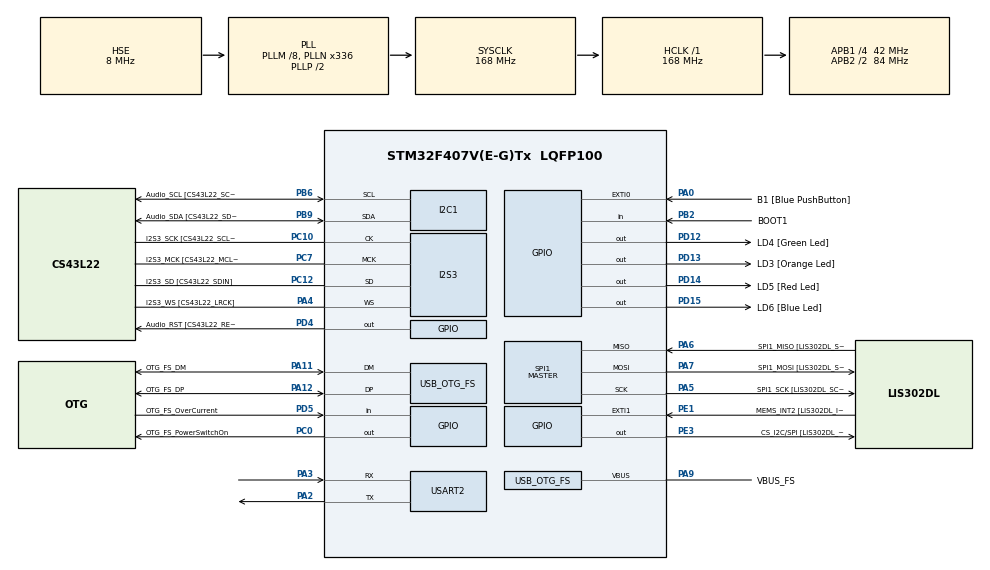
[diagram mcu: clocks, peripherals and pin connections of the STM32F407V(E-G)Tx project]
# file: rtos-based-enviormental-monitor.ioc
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FREERTOS.Tasks01=defaultTask,24,128,StartDefaultTask,Default,NULL,Dynamic,NULL,NULL;Sensor_Task,40,256,Sensor_Task_entry,Default,NULL,Dynamic,NULL,NULL;UART_Task,24,256,UART_Task_entry,Default,NULL,Dynamic,NULL,NULL;LED_Task,8,128,LED_Task_entry,Default,NULL,Dynamic,NULL,NULL
I2S3.AudioFreq-Half_Duplex_Master=I2S_AUDIOFREQ_96K
I2S3.ErrorAudioFreq=-2.34 %
I2S3.ErrorAudioFreq-Half_Duplex_Master=0.8 %
I2S3.FullDuplexMode=I2S_FULLDUPLEXMODE_DISABLE
I2S3.Instance=SPI$Index
I2S3.RealAudioFreq=93.75 KHz
I2S3.RealAudioFreq-Half_Duplex_Master=96.774 KHz
I2S3.VirtualMode=I2S_MODE_MASTER
Mcu.Family=STM32F4
Mcu.Name=STM32F407V(E-G)Tx
Mcu.Package=LQFP100
NVIC.OTG_FS_IRQn=true\:5\:0\:false\:false\:true\:true\:true\:true\:true
NVIC.PriorityGroup=NVIC_PRIORITYGROUP_4
NVIC.TIM6_DAC_IRQn=true\:15\:0\:false\:false\:true\:false\:false\:true\:true
NVIC.TimeBase=TIM6_DAC_IRQn
NVIC.TimeBaseIP=TIM6
NVIC.USART2_IRQn=true\:5\:0\:false\:false\:true\:true\:true\:true\:true
PA0-WKUP.GPIO_Label=B1 [Blue PushButton]
PA0-WKUP.GPIO_ModeDefaultEXTI=GPIO_MODE_EVT_RISING
PA0-WKUP.GPIO_PuPd=GPIO_NOPULL
PA0-WKUP.Signal=GPXTI0
PA10.GPIO_Label=OTG_FS_ID
PA10.GPIO_Mode=GPIO_MODE_AF_PP
PA10.GPIO_PuPd=GPIO_NOPULL
PA10.GPIO_Speed=GPIO_SPEED_FREQ_LOW
PA10.Signal=USB_OTG_FS_ID
PA11.GPIO_Label=OTG_FS_DM
PA11.GPIO_Mode=GPIO_MODE_AF_PP
PA11.GPIO_PuPd=GPIO_NOPULL
PA11.GPIO_Speed=GPIO_SPEED_FREQ_LOW
PA11.Mode=Host_Only
PA11.Signal=USB_OTG_FS_DM
PA12.GPIO_Label=OTG_FS_DP
PA12.GPIO_Mode=GPIO_MODE_AF_PP
PA12.GPIO_PuPd=GPIO_NOPULL
PA12.GPIO_Speed=GPIO_SPEED_FREQ_LOW
PA12.Mode=Host_Only
PA12.Signal=USB_OTG_FS_DP
PA13.GPIO_Label=SWDIO
PA13.Mode=Serial_Wire
PA13.Signal=SYS_JTMS-SWDIO
PA14.GPIO_Label=SWCLK
PA14.Mode=Serial_Wire
PA14.Signal=SYS_JTCK-SWCLK
PA2.Mode=Asynchronous
PA2.Signal=USART2_TX
PA3.Mode=Asynchronous
PA3.Signal=USART2_RX
PA4.GPIO_Label=I2S3_WS [CS43L22_LRCK]
PA4.GPIO_Mode=GPIO_MODE_AF_PP
PA4.GPIO_PuPd=GPIO_NOPULL
PA4.GPIO_Speed=GPIO_SPEED_FREQ_LOW
PA4.Mode=Half_Duplex_Master
PA4.Signal=I2S3_WS
PA5.GPIO_Label=SPI1_SCK [LIS302DL_SCL/SPC]
PA5.GPIO_Mode=GPIO_MODE_AF_PP
PA5.GPIO_PuPd=GPIO_NOPULL
PA5.GPIO_Speed=GPIO_SPEED_FREQ_LOW
PA5.Mode=Full_Duplex_Master
PA5.Signal=SPI1_SCK
PA6.GPIO_Label=SPI1_MISO [LIS302DL_SDO]
PA6.GPIO_Mode=GPIO_MODE_AF_PP
PA6.GPIO_PuPd=GPIO_NOPULL
PA6.GPIO_Speed=GPIO_SPEED_FREQ_LOW
PA6.Mode=Full_Duplex_Master
PA6.Signal=SPI1_MISO
PA7.GPIO_Label=SPI1_MOSI [LIS302DL_SDA/SDI/SDO]
PA7.GPIO_Mode=GPIO_MODE_AF_PP
PA7.GPIO_PuPd=GPIO_NOPULL
PA7.GPIO_Speed=GPIO_SPEED_FREQ_LOW
PA7.Mode=Full_Duplex_Master
PA7.Signal=SPI1_MOSI
PA9.GPIO_Label=VBUS_FS
PA9.GPIO_Mode=GPIO_MODE_INPUT
PA9.GPIO_PuPd=GPIO_NOPULL
PA9.Mode=Activate_VBUS
PA9.Signal=USB_OTG_FS_VBUS
PB10.GPIO_Label=CLK_IN [MP45DT02_CLK]
PB10.GPIO_Mode=GPIO_MODE_AF_PP
PB10.GPIO_PuPd=GPIO_NOPULL
PB10.GPIO_Speed=GPIO_SPEED_FREQ_LOW
PB10.Signal=I2S2_CK
PB2.GPIO_Label=BOOT1
PB2.GPIO_Mode=GPIO_MODE_INPUT
PB2.GPIO_PuPd=GPIO_NOPULL
PB2.Signal=GPIO_Input
PB3.GPIO_Label=SWO
PB3.Signal=SYS_JTDO-SWO
PB6.GPIO_Label=Audio_SCL [CS43L22_SCL]
PB6.GPIO_Mode=GPIO_MODE_AF_OD
PB6.GPIO_Pu=GPIO_PULLUP
PB6.GPIO_PuPd=GPIO_NOPULL
PB6.GPIO_Speed=GPIO_SPEED_FREQ_LOW
PB6.Mode=I2C
PB6.Signal=I2C1_SCL
PB9.GPIO_Label=Audio_SDA [CS43L22_SDA]
PB9.GPIO_Mode=GPIO_MODE_AF_OD
PB9.GPIO_Pu=GPIO_PULLUP
PB9.GPIO_PuPd=GPIO_NOPULL
PB9.GPIO_Speed=GPIO_SPEED_FREQ_LOW
PB9.Mode=I2C
PB9.Signal=I2C1_SDA
PC0.GPIO_Label=OTG_FS_PowerSwitchOn
PC0.GPIO_PuPd=GPIO_NOPULL
PC0.GPIO_Speed=GPIO_SPEED_FREQ_LOW
PC0.PinState=GPIO_PIN_SET
PC0.Signal=GPIO_Output
PC10.GPIO_Label=I2S3_SCK [CS43L22_SCLK]
PC10.GPIO_Mode=GPIO_MODE_AF_PP
PC10.GPIO_PuPd=GPIO_NOPULL
PC10.GPIO_Speed=GPIO_SPEED_FREQ_LOW
PC10.Mode=Half_Duplex_Master
PC10.Signal=I2S3_CK
PC12.GPIO_Label=I2S3_SD [CS43L22_SDIN]
PC12.GPIO_Mode=GPIO_MODE_AF_PP
PC12.GPIO_PuPd=GPIO_NOPULL
PC12.GPIO_Speed=GPIO_SPEED_FREQ_LOW
PC12.Mode=Half_Duplex_Master
PC12.Signal=I2S3_SD
PC14-OSC32_IN.GPIO_Label=PC14-OSC32_IN
PC14-OSC32_IN.Mode=LSE-External-Oscillator
PC14-OSC32_IN.Signal=RCC_OSC32_IN
PC15-OSC32_OUT.GPIO_Label=PC15-OSC32_OUT
PC15-OSC32_OUT.Mode=LSE-External-Oscillator
PC15-OSC32_OUT.Signal=RCC_OSC32_OUT
PC3.GPIO_Label=PDM_OUT [MP45DT02_DOUT]
PC3.GPIO_Mode=GPIO_MODE_AF_PP
PC3.GPIO_PuPd=GPIO_NOPULL
PC3.GPIO_Speed=GPIO_SPEED_FREQ_LOW
PC3.Signal=I2S2_SD
PC7.GPIO_Label=I2S3_MCK [CS43L22_MCLK]
PC7.GPIO_Mode=GPIO_MODE_AF_PP
PC7.GPIO_PuPd=GPIO_NOPULL
PC7.GPIO_Speed=GPIO_SPEED_FREQ_LOW
PC7.Mode=Master_Clock_Activated
PC7.Signal=I2S3_MCK
PD12.GPIO_Label=LD4 [Green Led]
PD12.GPIO_PuPd=GPIO_NOPULL
PD12.GPIO_Speed=GPIO_SPEED_FREQ_LOW
PD12.Signal=GPIO_Output
PD13.GPIO_Label=LD3 [Orange Led]
PD13.GPIO_PuPd=GPIO_NOPULL
PD13.GPIO_Speed=GPIO_SPEED_FREQ_LOW
PD13.Signal=GPIO_Output
PD14.GPIO_Label=LD5 [Red Led]
PD14.GPIO_PuPd=GPIO_NOPULL
PD14.GPIO_Speed=GPIO_SPEED_FREQ_LOW
PD14.Signal=GPIO_Output
PD15.GPIO_Label=LD6 [Blue Led]
PD15.GPIO_PuPd=GPIO_NOPULL
PD15.GPIO_Speed=GPIO_SPEED_FREQ_LOW
PD15.Signal=GPIO_Output
PD4.GPIO_Label=Audio_RST [CS43L22_RESET]
PD4.GPIO_PuPd=GPIO_NOPULL
PD4.GPIO_Speed=GPIO_SPEED_FREQ_LOW
PD4.Signal=GPIO_Output
PD5.GPIO_Label=OTG_FS_OverCurrent
PD5.GPIO_Mode=GPIO_MODE_INPUT
PD5.GPIO_PuPd=GPIO_NOPULL
PD5.Signal=GPIO_Input
PE1.GPIO_Label=MEMS_INT2 [LIS302DL_INT2]
PE1.GPIO_ModeDefaultEXTI=GPIO_MODE_EVT_RISING
PE1.GPIO_PuPd=GPIO_NOPULL
PE1.Signal=GPXTI1
PE3.GPIO_Label=CS_I2C/SPI [LIS302DL_CS_I2C/SPI]
PE3.GPIO_PuPd=GPIO_NOPULL
PE3.GPIO_Speed=GPIO_SPEED_FREQ_LOW
PE3.Signal=GPIO_Output
PH0-OSC_IN.GPIO_Label=PH0-OSC_IN
PH0-OSC_IN.Mode=HSE-External-Oscillator
PH0-OSC_IN.Signal=RCC_OSC_IN
PH1-OSC_OUT.GPIO_Label=PH1-OSC_OUT
PH1-OSC_OUT.Mode=HSE-External-Oscillator
PH1-OSC_OUT.Signal=RCC_OSC_OUT
ProjectManager.HeapSize=0x200
ProjectManager.StackSize=0x400
ProjectManager.TargetToolchain=CMake
RCC.48MHZClocksFreq_Value=48000000
RCC.AHBFreq_Value=168000000
RCC.APB1CLKDivider=RCC_HCLK_DIV4
RCC.APB1Freq_Value=42000000
RCC.APB1TimFreq_Value=84000000
RCC.APB2CLKDivider=RCC_HCLK_DIV2
RCC.APB2Freq_Value=84000000
RCC.APB2TimFreq_Value=168000000
RCC.CortexFreq_Value=168000000
RCC.HCLKFreq_Value=168000000
RCC.HSE_VALUE=8000000
RCC.HSI_VALUE=16000000
RCC.PLLM=8
RCC.PLLN=336
RCC.PLLQ=7
RCC.SYSCLKFreq_VALUE=168000000
RCC.SYSCLKSource=RCC_SYSCLKSOURCE_PLLCLK
RCC.VCOOutputFreq_Value=336000000
SPI1.BaudRatePrescaler-Full_Duplex_Master=SPI_BAUDRATEPRESCALER_2
SPI1.CalculateBaudRate-Full_Duplex_Master=42.0 MBits/s
SPI1.Direction=SPI_DIRECTION_2LINES
SPI1.Mode=SPI_MODE_MASTER
SPI1.Mode-Full_Duplex_Master=SPI_MODE_MASTER
SPI1.VirtualType=VM_MASTER
USART2.VirtualMode=VM_ASYNC
USB_HOST.BSP.number=1
USB_HOST.USBH_HandleTypeDef-CDC_FS=hUsbHostFS
USB_HOST.VirtualModeFS=Cdc
USB_HOST0.BSP.STBoard=false
USB_HOST0.BSP.api=Unknown
USB_HOST0.BSP.instance=PC0
USB_HOST0.BSP.ip=GPIO
USB_HOST0.BSP.mode=Output
USB_HOST0.BSP.name=Drive_VBUS_FS
USB_HOST0.BSP.solution=PC0
USB_OTG_FS.VirtualMode=Host_Only
USB_OTG_FS.phy_itface=HCD_PHY_EMBEDDED
VP_FREERTOS_VS_CMSIS_V2.Mode=CMSIS_V2
VP_SYS_VS_tim6.Mode=TIM6
VP_USB_HOST_VS_USB_HOST_CDC_FS.Mode=CDC_FS
board=STM32F407G-DISC1

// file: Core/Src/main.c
/* USER CODE BEGIN Header */
/**
  ******************************************************************************
  * @file           : main.c
  * @brief          : Main program body
  ******************************************************************************
  * @attention
  *
  * Copyright (c) 2026 STMicroelectronics.
  * All rights reserved.
  *
  * This software is licensed under terms that can be found in the LICENSE file
  * in the root directory of this software component.
  * If no LICENSE file comes with this software, it is provided AS-IS.
  *
  ******************************************************************************
  */
/* USER CODE END Header */
#include "main.h"
#include "cmsis_os.h"
#include "cmsis_os2.h"
#include "stm32f4xx_hal_def.h"
#include "stm32f4xx_hal_uart.h"
#include "usb_host.h"

/* USER CODE BEGIN Includes */
#include <stdint.h>
#include <stdio.h>
#include <string.h>
#include "bme280.h"
#include "task.h"
/* USER CODE END Includes */

I2C_HandleTypeDef hi2c1;

I2S_HandleTypeDef hi2s3;

SPI_HandleTypeDef hspi1;

UART_HandleTypeDef huart2;

/* Definitions for defaultTask */
osThreadId_t defaultTaskHandle;
const osThreadAttr_t defaultTask_attributes = {
  .name = "defaultTask",
  .stack_size = 128 * 4,
  .priority = (osPriority_t) osPriorityNormal,
};
/* Definitions for Sensor_Task */
osThreadId_t Sensor_TaskHandle;
const osThreadAttr_t Sensor_Task_attributes = {
  .name = "Sensor_Task",
  .stack_size = 256 * 4,
  .priority = (osPriority_t) osPriorityHigh,
};
/* Definitions for UART_Task */
osThreadId_t UART_TaskHandle;
const osThreadAttr_t UART_Task_attributes = {
  .name = "UART_Task",
  .stack_size = 256 * 4,
  .priority = (osPriority_t) osPriorityNormal,
};
/* Definitions for LED_Task */
osThreadId_t LED_TaskHandle;
const osThreadAttr_t LED_Task_attributes = {
  .name = "LED_Task",
  .stack_size = 128 * 4,
  .priority = (osPriority_t) osPriorityLow,
};
/* USER CODE BEGIN PV */
uint8_t rx_buffer[64];
uint8_t rxByte;
uint8_t rxIndex = 0;
volatile uint8_t sensor_enabled = 0;
volatile uint8_t sensor_needs_reinit = 0;

osMessageQueueId_t SensorQueueHandle;

/* USER CODE END PV */

void SystemClock_Config(void);
static void MX_GPIO_Init(void);
static void MX_I2C1_Init(void);
static void MX_I2S3_Init(void);
static void MX_SPI1_Init(void);
static void MX_USART2_UART_Init(void);
void StartDefaultTask(void *argument);
void Sensor_Task_entry(void *argument);
void UART_Task_entry(void *argument);
void LED_Task_entry(void *argument);

/* USER CODE BEGIN PFP */
static void processCommand(uint8_t *cmd);
/* USER CODE END PFP */

int main(void)
{

  /* MCU Configuration--------------------------------------------------------*/

  /* Reset of all peripherals, Initializes the Flash interface and the Systick. */
  HAL_Init();

  /* Configure the system clock */
  SystemClock_Config();

  /* Initialize all configured peripherals */
  MX_GPIO_Init();
  MX_I2C1_Init();
  MX_I2S3_Init();
  MX_SPI1_Init();
  MX_USART2_UART_Init();
  /* USER CODE BEGIN 2 */
  HAL_UART_Receive_IT(&huart2, &rxByte, 1);
  const char *banner = "\r\n=== Environmental Monitor ===\r\nType START to begin. Type HELP for commands.\r\n\r\n";
  HAL_UART_Transmit(&huart2, (uint8_t *)banner, strlen(banner), HAL_MAX_DELAY);
  /* USER CODE END 2 */

  /* Init scheduler */
  osKernelInitialize();

  /* USER CODE BEGIN RTOS_QUEUES */
  SensorQueueHandle = osMessageQueueNew(10, sizeof(bme_data_t), NULL);
  /* USER CODE END RTOS_QUEUES */

  /* Create the thread(s) */
  /* creation of defaultTask */
  defaultTaskHandle = osThreadNew(StartDefaultTask, NULL, &defaultTask_attributes);

  /* creation of Sensor_Task */
  Sensor_TaskHandle = osThreadNew(Sensor_Task_entry, NULL, &Sensor_Task_attributes);

  /* creation of UART_Task */
  UART_TaskHandle = osThreadNew(UART_Task_entry, NULL, &UART_Task_attributes);

  /* creation of LED_Task */
  LED_TaskHandle = osThreadNew(LED_Task_entry, NULL, &LED_Task_attributes);

  /* Start scheduler */
  osKernelStart();

  /* We should never get here as control is now taken by the scheduler */

  /* Infinite loop */
  while (1)
  {

  }
}

void SystemClock_Config(void)
{
  RCC_OscInitTypeDef RCC_OscInitStruct = {0};
  RCC_ClkInitTypeDef RCC_ClkInitStruct = {0};

  /** Configure the main internal regulator output voltage
  */
  __HAL_RCC_PWR_CLK_ENABLE();
  __HAL_PWR_VOLTAGESCALING_CONFIG(PWR_REGULATOR_VOLTAGE_SCALE1);

  /** Initializes the RCC Oscillators according to the specified parameters
  * in the RCC_OscInitTypeDef structure.
  */
  RCC_OscInitStruct.OscillatorType = RCC_OSCILLATORTYPE_HSE;
  RCC_OscInitStruct.HSEState = RCC_HSE_ON;
  RCC_OscInitStruct.PLL.PLLState = RCC_PLL_ON;
  RCC_OscInitStruct.PLL.PLLSource = RCC_PLLSOURCE_HSE;
  RCC_OscInitStruct.PLL.PLLM = 8;
  RCC_OscInitStruct.PLL.PLLN = 336;
  RCC_OscInitStruct.PLL.PLLP = RCC_PLLP_DIV2;
  RCC_OscInitStruct.PLL.PLLQ = 7;
  if (HAL_RCC_OscConfig(&RCC_OscInitStruct) != HAL_OK)
  {
    Error_Handler();
  }

  /** Initializes the CPU, AHB and APB buses clocks
  */
  RCC_ClkInitStruct.ClockType = RCC_CLOCKTYPE_HCLK|RCC_CLOCKTYPE_SYSCLK
                              |RCC_CLOCKTYPE_PCLK1|RCC_CLOCKTYPE_PCLK2;
  RCC_ClkInitStruct.SYSCLKSource = RCC_SYSCLKSOURCE_PLLCLK;
  RCC_ClkInitStruct.AHBCLKDivider = RCC_SYSCLK_DIV1;
  RCC_ClkInitStruct.APB1CLKDivider = RCC_HCLK_DIV4;
  RCC_ClkInitStruct.APB2CLKDivider = RCC_HCLK_DIV2;

  if (HAL_RCC_ClockConfig(&RCC_ClkInitStruct, FLASH_LATENCY_5) != HAL_OK)
  {
    Error_Handler();
  }
}

static void MX_I2C1_Init(void)
{

  hi2c1.Instance = I2C1;
  hi2c1.Init.ClockSpeed = 100000;
  hi2c1.Init.DutyCycle = I2C_DUTYCYCLE_2;
  hi2c1.Init.OwnAddress1 = 0;
  hi2c1.Init.AddressingMode = I2C_ADDRESSINGMODE_7BIT;
  hi2c1.Init.DualAddressMode = I2C_DUALADDRESS_DISABLE;
  hi2c1.Init.OwnAddress2 = 0;
  hi2c1.Init.GeneralCallMode = I2C_GENERALCALL_DISABLE;
  hi2c1.Init.NoStretchMode = I2C_NOSTRETCH_DISABLE;
  if (HAL_I2C_Init(&hi2c1) != HAL_OK)
  {
    Error_Handler();
  }

}

static void MX_I2S3_Init(void)
{

  hi2s3.Instance = SPI3;
  hi2s3.Init.Mode = I2S_MODE_MASTER_TX;
  hi2s3.Init.Standard = I2S_STANDARD_PHILIPS;
  hi2s3.Init.DataFormat = I2S_DATAFORMAT_16B;
  hi2s3.Init.MCLKOutput = I2S_MCLKOUTPUT_ENABLE;
  hi2s3.Init.AudioFreq = I2S_AUDIOFREQ_96K;
  hi2s3.Init.CPOL = I2S_CPOL_LOW;
  hi2s3.Init.ClockSource = I2S_CLOCK_PLL;
  hi2s3.Init.FullDuplexMode = I2S_FULLDUPLEXMODE_DISABLE;
  if (HAL_I2S_Init(&hi2s3) != HAL_OK)
  {
    Error_Handler();
  }

}

static void MX_SPI1_Init(void)
{

  /* SPI1 parameter configuration*/
  hspi1.Instance = SPI1;
  hspi1.Init.Mode = SPI_MODE_MASTER;
  hspi1.Init.Direction = SPI_DIRECTION_2LINES;
  hspi1.Init.DataSize = SPI_DATASIZE_8BIT;
  hspi1.Init.CLKPolarity = SPI_POLARITY_LOW;
  hspi1.Init.CLKPhase = SPI_PHASE_1EDGE;
  hspi1.Init.NSS = SPI_NSS_SOFT;
  hspi1.Init.BaudRatePrescaler = SPI_BAUDRATEPRESCALER_2;
  hspi1.Init.FirstBit = SPI_FIRSTBIT_MSB;
  hspi1.Init.TIMode = SPI_TIMODE_DISABLE;
  hspi1.Init.CRCCalculation = SPI_CRCCALCULATION_DISABLE;
  hspi1.Init.CRCPolynomial = 10;
  if (HAL_SPI_Init(&hspi1) != HAL_OK)
  {
    Error_Handler();
  }

}

static void MX_USART2_UART_Init(void)
{

  huart2.Instance = USART2;
  huart2.Init.BaudRate = 115200;
  huart2.Init.WordLength = UART_WORDLENGTH_8B;
  huart2.Init.StopBits = UART_STOPBITS_1;
  huart2.Init.Parity = UART_PARITY_NONE;
  huart2.Init.Mode = UART_MODE_TX_RX;
  huart2.Init.HwFlowCtl = UART_HWCONTROL_NONE;
  huart2.Init.OverSampling = UART_OVERSAMPLING_16;
  if (HAL_UART_Init(&huart2) != HAL_OK)
  {
    Error_Handler();
  }

}

static void MX_GPIO_Init(void)
{
  GPIO_InitTypeDef GPIO_InitStruct = {0};

  /* GPIO Ports Clock Enable */
  __HAL_RCC_GPIOE_CLK_ENABLE();
  __HAL_RCC_GPIOC_CLK_ENABLE();
  __HAL_RCC_GPIOH_CLK_ENABLE();
  __HAL_RCC_GPIOA_CLK_ENABLE();
  __HAL_RCC_GPIOB_CLK_ENABLE();
  __HAL_RCC_GPIOD_CLK_ENABLE();

  /*Configure GPIO pin Output Level */
  HAL_GPIO_WritePin(CS_I2C_SPI_GPIO_Port, CS_I2C_SPI_Pin, GPIO_PIN_RESET);

  /*Configure GPIO pin Output Level */
  HAL_GPIO_WritePin(OTG_FS_PowerSwitchOn_GPIO_Port, OTG_FS_PowerSwitchOn_Pin, GPIO_PIN_SET);

  /*Configure GPIO pin Output Level */
  HAL_GPIO_WritePin(GPIOD, LD4_Pin|LD3_Pin|LD5_Pin|LD6_Pin
                          |Audio_RST_Pin, GPIO_PIN_RESET);

  /*Configure GPIO pin : CS_I2C_SPI_Pin */
  GPIO_InitStruct.Pin = CS_I2C_SPI_Pin;
  GPIO_InitStruct.Mode = GPIO_MODE_OUTPUT_PP;
  GPIO_InitStruct.Pull = GPIO_NOPULL;
  GPIO_InitStruct.Speed = GPIO_SPEED_FREQ_LOW;
  HAL_GPIO_Init(CS_I2C_SPI_GPIO_Port, &GPIO_InitStruct);

  /*Configure GPIO pin : OTG_FS_PowerSwitchOn_Pin */
  GPIO_InitStruct.Pin = OTG_FS_PowerSwitchOn_Pin;
  GPIO_InitStruct.Mode = GPIO_MODE_OUTPUT_PP;
  GPIO_InitStruct.Pull = GPIO_NOPULL;
  GPIO_InitStruct.Speed = GPIO_SPEED_FREQ_LOW;
  HAL_GPIO_Init(OTG_FS_PowerSwitchOn_GPIO_Port, &GPIO_InitStruct);

  /*Configure GPIO pin : PDM_OUT_Pin */
  GPIO_InitStruct.Pin = PDM_OUT_Pin;
  GPIO_InitStruct.Mode = GPIO_MODE_AF_PP;
  GPIO_InitStruct.Pull = GPIO_NOPULL;
  GPIO_InitStruct.Speed = GPIO_SPEED_FREQ_LOW;
  GPIO_InitStruct.Alternate = GPIO_AF5_SPI2;
  HAL_GPIO_Init(PDM_OUT_GPIO_Port, &GPIO_InitStruct);

  /*Configure GPIO pin : B1_Pin */
  GPIO_InitStruct.Pin = B1_Pin;
  GPIO_InitStruct.Mode = GPIO_MODE_EVT_RISING;
  GPIO_InitStruct.Pull = GPIO_NOPULL;
  HAL_GPIO_Init(B1_GPIO_Port, &GPIO_InitStruct);

  /*Configure GPIO pin : BOOT1_Pin */
  GPIO_InitStruct.Pin = BOOT1_Pin;
  GPIO_InitStruct.Mode = GPIO_MODE_INPUT;
  GPIO_InitStruct.Pull = GPIO_NOPULL;
  HAL_GPIO_Init(BOOT1_GPIO_Port, &GPIO_InitStruct);

  /*Configure GPIO pin : CLK_IN_Pin */
  GPIO_InitStruct.Pin = CLK_IN_Pin;
  GPIO_InitStruct.Mode = GPIO_MODE_AF_PP;
  GPIO_InitStruct.Pull = GPIO_NOPULL;
  GPIO_InitStruct.Speed = GPIO_SPEED_FREQ_LOW;
  GPIO_InitStruct.Alternate = GPIO_AF5_SPI2;
  HAL_GPIO_Init(CLK_IN_GPIO_Port, &GPIO_InitStruct);

  /*Configure GPIO pins : LD4_Pin LD3_Pin LD5_Pin LD6_Pin
                           Audio_RST_Pin */
  GPIO_InitStruct.Pin = LD4_Pin|LD3_Pin|LD5_Pin|LD6_Pin
                          |Audio_RST_Pin;
  GPIO_InitStruct.Mode = GPIO_MODE_OUTPUT_PP;
  GPIO_InitStruct.Pull = GPIO_NOPULL;
  GPIO_InitStruct.Speed = GPIO_SPEED_FREQ_LOW;
  HAL_GPIO_Init(GPIOD, &GPIO_InitStruct);

  /*Configure GPIO pin : OTG_FS_OverCurrent_Pin */
  GPIO_InitStruct.Pin = OTG_FS_OverCurrent_Pin;
  GPIO_InitStruct.Mode = GPIO_MODE_INPUT;
  GPIO_InitStruct.Pull = GPIO_NOPULL;
  HAL_GPIO_Init(OTG_FS_OverCurrent_GPIO_Port, &GPIO_InitStruct);

  /*Configure GPIO pin : MEMS_INT2_Pin */
  GPIO_InitStruct.Pin = MEMS_INT2_Pin;
  GPIO_InitStruct.Mode = GPIO_MODE_EVT_RISING;
  GPIO_InitStruct.Pull = GPIO_NOPULL;
  HAL_GPIO_Init(MEMS_INT2_GPIO_Port, &GPIO_InitStruct);

}

/* USER CODE BEGIN 4 */
void HAL_UART_RxCpltCallback(UART_HandleTypeDef *huart)
{
  if(huart -> Instance == USART2)
  {
    if(rxByte == '\r' || rxByte == '\n')
    {
      if(rxIndex > 0)
      {
        HAL_UART_Transmit(&huart2, (uint8_t *)"\r\n", 2, HAL_MAX_DELAY);
        rx_buffer[rxIndex] = '\0';
        processCommand(rx_buffer);
        rxIndex = 0;
      }
    }
    else {
      if(rxIndex < sizeof(rx_buffer) - 1)
      {
        HAL_UART_Transmit(&huart2, &rxByte, 1, HAL_MAX_DELAY);
        rx_buffer[rxIndex++] = rxByte; //Add to Buffer
      }
      else
      {
        uint8_t bell = '\a'; //terminal beep
        HAL_UART_Transmit(&huart2, &bell, 1, HAL_MAX_DELAY);
      }
    }
    HAL_UART_Receive_IT(&huart2, &rxByte, 1);
  }
}

static void processCommand(uint8_t *cmd)
{
  uint8_t help_message[] = "Commands: HELP, CLEAR, START, STOP, STATUS\r\n";
  uint8_t start_message[] = "Starting Sensor Read:\r\n";
  uint8_t stop_message[] = "Stopping Sensor Read\r\n";
  uint8_t clear_message[] = "\033[2J\033[H";
  uint8_t unknown_message[] = "Unknown Command\r\n";

  if(strcmp((char *)cmd, "HELP") == 0)
  {
    HAL_UART_Transmit(&huart2, help_message, sizeof(help_message), HAL_MAX_DELAY);
  }
  else if (strcmp((char *) cmd, "START") == 0)
  {
    sensor_enabled = 1;
    HAL_UART_Transmit(&huart2, start_message, sizeof(start_message), HAL_MAX_DELAY);
  }
  else if (strcmp((char *) cmd, "STOP") == 0)
  {
    sensor_enabled = 0;
    HAL_UART_Transmit(&huart2, stop_message, sizeof(stop_message), HAL_MAX_DELAY);
  }
  else if (strcmp((char *) cmd, "STATUS") == 0)
  {
    char status_buf[80];
    snprintf(status_buf, sizeof(status_buf),
              "Heap: %u bytes | Tasks: %u | Uptime: %lus\r\n",
              (unsigned)xPortGetFreeHeapSize(),
              (unsigned)uxTaskGetNumberOfTasks(),
              (unsigned long)(osKernelGetTickCount() / 1000));
    HAL_UART_Transmit(&huart2, (uint8_t *)status_buf, strlen(status_buf), HAL_MAX_DELAY);
  }
  else if(strcmp((char *)cmd, "CLEAR") == 0)
  {
    HAL_UART_Transmit(&huart2, clear_message, sizeof(clear_message), HAL_MAX_DELAY);
  }
  else
  {
    HAL_UART_Transmit(&huart2, unknown_message, sizeof(unknown_message), HAL_MAX_DELAY);
  }
}
/* USER CODE END 4 */

void StartDefaultTask(void *argument)
{
  /* init code for USB_HOST */
  MX_USB_HOST_Init();
  for(;;)
  {
    osDelay(1);
  }
}

void Sensor_Task_entry(void *argument)
{
  /* USER CODE BEGIN Sensor_Task_entry */
  bme_raw_t raw;
  bme_data_t data;
  bme_calibration_params_t cal;
  if (!bme280_init(&hi2c1, &cal))
  {
      const char *err = "ERROR: BME280 not found. Check wiring (PB6=SCL, PB9=SDA) and SDO/CS strapping.\r\n";
      HAL_UART_Transmit(&huart2, (uint8_t *)err, strlen(err), HAL_MAX_DELAY);
      for(;;)
      {
          GPIOD->ODR ^= GPIO_ODR_OD14;
          osDelay(200);
      }
  }

  uint32_t tick = osKernelGetTickCount();
  /* Infinite loop */
  for(;;)
  {
    if(sensor_enabled)
    {
      if(sensor_needs_reinit)
      {
        if(!bme280_init(&hi2c1, &cal))
        {
          const char *err = "ERROR: BME280 still not found. Check wiring.\r\n";
          HAL_UART_Transmit(&huart2, (uint8_t *)err, strlen(err), HAL_MAX_DELAY);
          sensor_enabled = 0;
        }
        else
        {
          sensor_needs_reinit = 0;
        }
      }
      if(sensor_enabled && !bme280_read_sensors(&hi2c1, &raw))
      {
        const char *err = "ERROR: BME280 disconnected. Reconnect and type START.\r\n";
        HAL_UART_Transmit(&huart2, (uint8_t *)err, strlen(err), HAL_MAX_DELAY);
        sensor_enabled = 0;
        sensor_needs_reinit = 1;
      }
      else
      {
        bme280_compensate(&cal, &raw, &data);
        osMessageQueuePut(SensorQueueHandle, &data, 0, 0);
      }
    }
    tick+=1000;
    osDelayUntil(tick);
  }
  /* USER CODE END Sensor_Task_entry */
}

void UART_Task_entry(void *argument)
{
  /* USER CODE BEGIN UART_Task_entry */
  bme_data_t data;
  char txBuf[64];
  /* Infinite loop */
  for(;;)
  {
    if(osMessageQueueGet(SensorQueueHandle, &data, NULL, osWaitForever) == osOK)
    {
      snprintf(txBuf, sizeof(txBuf) , "T: %.1fF | H: %.1f%% | P: %.1fhPa\r\n", ((float)data.temp / 100.0f) * 9.0f / 5.0f + 32.0f, (float)data.hum/1024.0f, (float)data.press/25600.0f);
      HAL_UART_Transmit(&huart2, (uint8_t*) txBuf , strlen(txBuf), HAL_MAX_DELAY);
    }
  }
  /* USER CODE END UART_Task_entry */
}

void LED_Task_entry(void *argument)
{
  /* USER CODE BEGIN LED_Task_entry */
  /* Infinite loop */
  for(;;)
  {
    GPIOD->ODR ^= GPIO_ODR_OD12;
    osDelay(500);
  }
  /* USER CODE END LED_Task_entry */
}

void HAL_TIM_PeriodElapsedCallback(TIM_HandleTypeDef *htim)
{
  if (htim->Instance == TIM6)
  {
    HAL_IncTick();
  }
}

void Error_Handler(void)
{
  __disable_irq();
  while (1)
  {
  }
}
